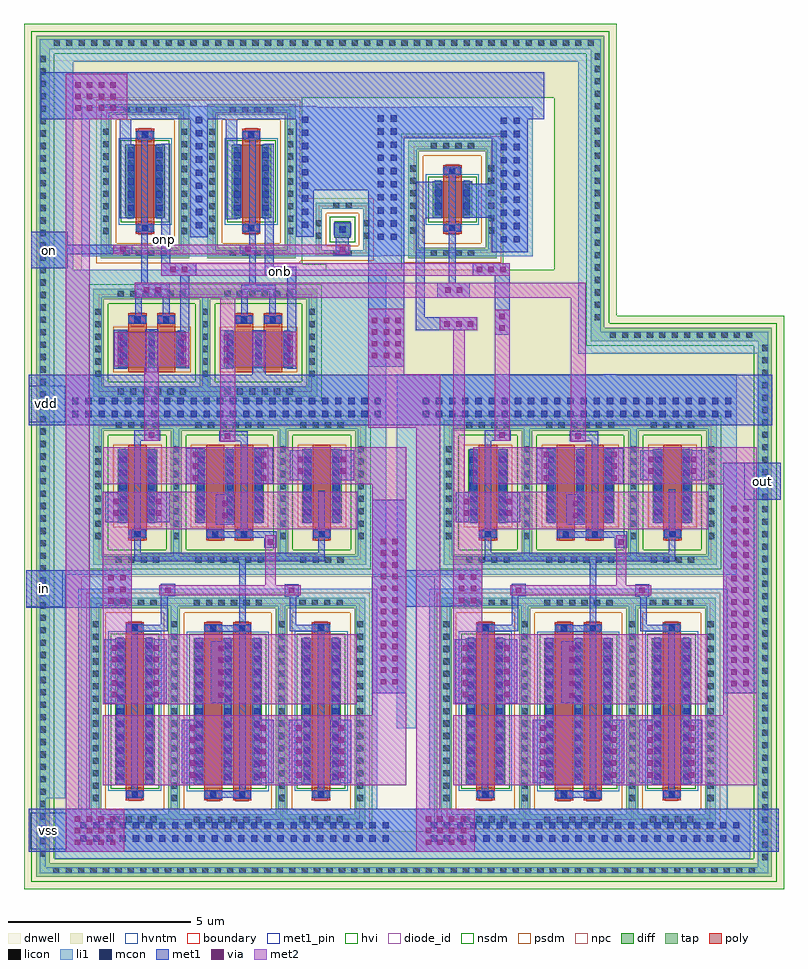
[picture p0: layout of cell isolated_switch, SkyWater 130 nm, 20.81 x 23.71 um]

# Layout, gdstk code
from math import pi, radians
import gdstk
lib = gdstk.Library(unit=1e-6, precision=1e-09)
def R(c, l, rs):  # rectangles x0, y0, x1, y1
    for r in rs: c.add(gdstk.rectangle(r[:2], r[2:], *l))
def A(c, l, x, y, w, h, nx, ny, dx, dy):  # array of equal rectangles
    R(c, l, [(x+i*dx, y+j*dy, x+i*dx+w, y+j*dy+h) for i in range(nx) for j in range(ny)])
dnwell = (64, 18)
nwell = (64, 20)
diff = (65, 20)
tap = (65, 44)
poly = (66, 20)
licon = (66, 44)
li1 = (67, 20)
mcon = (67, 44)
met1_pin = (68, 16)
met1 = (68, 20)
via = (68, 44)
met2 = (69, 20)
hvi = (75, 20)
diode_id = (81, 23)
nsdm = (93, 44)
psdm = (94, 20)
npc = (95, 20)
hvntm = (125, 20)
boundary = (235, 4)

sky130_fd_pr__nfet_g5v0d = lib.new_cell('sky130_fd_pr__nfet_g5v0d10v5_WSEQJ8')
R(sky130_fd_pr__nfet_g5v0d, diff, [(-0.54,-1,0.54,1)])
R(sky130_fd_pr__nfet_g5v0d, tap, [(-1.21,-2.11,1.21,-1.82), (-1.21,-1.82,-0.92,1.82), (0.92,-1.82,1.21,1.82), (-1.21,1.82,1.21,2.11)])
R(sky130_fd_pr__nfet_g5v0d, poly, [(-0.25,-1.44,0.25,1.44)])
A(sky130_fd_pr__nfet_g5v0d, licon, -0.595, -2.05, 0.17, 0.17, 4, 2, 0.34, 3.93)
A(sky130_fd_pr__nfet_g5v0d, licon, -1.15, -1.445, 0.17, 0.17, 1, 9, 0, 0.34)
A(sky130_fd_pr__nfet_g5v0d, licon, 0.98, -1.445, 0.17, 0.17, 1, 9, 0, 0.34)
A(sky130_fd_pr__nfet_g5v0d, licon, -0.48, -0.935, 0.17, 0.17, 1, 6, 0, 0.34)
A(sky130_fd_pr__nfet_g5v0d, licon, 0.31, -0.935, 0.17, 0.17, 1, 6, 0, 0.34)
R(sky130_fd_pr__nfet_g5v0d, licon, [(-0.085,-1.36,0.085,-1.19), (-0.085,1.19,0.085,1.36)])
R(sky130_fd_pr__nfet_g5v0d, li1, [(-1.15,-2.05,1.15,-1.88), (-1.15,-1.88,-0.98,1.88), (0.98,-1.88,1.15,1.88), (-0.25,-1.36,0.25,-1.19), (-0.48,-1.02,-0.31,1.02), (0.31,-1.02,0.48,1.02), (-0.25,1.19,0.25,1.36), (-1.15,1.88,1.15,2.05)])
A(sky130_fd_pr__nfet_g5v0d, mcon, -0.48, -0.805, 0.17, 0.17, 1, 5, 0, 0.36)
A(sky130_fd_pr__nfet_g5v0d, mcon, 0.31, -0.805, 0.17, 0.17, 1, 5, 0, 0.36)
R(sky130_fd_pr__nfet_g5v0d, mcon, [(-0.085,-1.36,0.085,-1.19), (-0.085,1.19,0.085,1.36)])
R(sky130_fd_pr__nfet_g5v0d, met1, [(-0.23,-1.39,0.23,-1.16), (-0.51,-1,-0.28,1), (0.28,-1,0.51,1), (-0.23,1.16,0.23,1.39)])
R(sky130_fd_pr__nfet_g5v0d, hvi, [(-1.395,-2.295,1.395,2.295)])
R(sky130_fd_pr__nfet_g5v0d, nsdm, [(-0.665,-1.125,0.665,1.125)])
R(sky130_fd_pr__nfet_g5v0d, psdm, [(-1.335,-2.235,1.335,-1.695), (-1.335,-1.695,-0.795,1.695), (0.795,-1.695,1.335,1.695), (-1.335,1.695,1.335,2.235)])
R(sky130_fd_pr__nfet_g5v0d, npc, [(-0.185,-1.46,0.185,-1.09), (-0.185,1.09,0.185,1.46)])
R(sky130_fd_pr__nfet_g5v0d, hvntm, [(-0.725,-1.185,0.725,1.185)])
R(sky130_fd_pr__nfet_g5v0d, boundary, [(-1.06,-1.96,1.06,1.96)])

sky130_fd_pr__pfet_g5v0d = lib.new_cell('sky130_fd_pr__pfet_g5v0d10v5_U62SY6')
R(sky130_fd_pr__pfet_g5v0d, nwell, [(-1.935,-1.81,1.935,1.81)])
R(sky130_fd_pr__pfet_g5v0d, diff, [(-0.935,-0.32,0.935,0.68)])
R(sky130_fd_pr__pfet_g5v0d, tap, [(-1.605,-1.48,1.605,-1.19), (-1.605,-1.19,-1.315,1.19), (1.315,-1.19,1.605,1.19), (-1.605,1.19,1.605,1.48)])
R(sky130_fd_pr__pfet_g5v0d, poly, [(-0.645,-0.805,-0.145,0.81), (0.145,-0.805,0.645,0.81)])
A(sky130_fd_pr__pfet_g5v0d, licon, -0.935, -1.42, 0.17, 0.17, 6, 2, 0.34, 2.67)
A(sky130_fd_pr__pfet_g5v0d, licon, -1.545, -0.935, 0.17, 0.17, 1, 6, 0, 0.34)
A(sky130_fd_pr__pfet_g5v0d, licon, 1.375, -0.935, 0.17, 0.17, 1, 6, 0, 0.34)
A(sky130_fd_pr__pfet_g5v0d, licon, -0.875, -0.245, 0.17, 0.17, 3, 3, 0.79, 0.34)
R(sky130_fd_pr__pfet_g5v0d, licon, [(-0.48,-0.725,-0.31,-0.555), (0.31,-0.725,0.48,-0.555)])
A(sky130_fd_pr__pfet_g5v0d, li1, -0.875, -0.34, 0.17, 1.04, 3, 1, 0.79, 0)
R(sky130_fd_pr__pfet_g5v0d, li1, [(-1.545,-1.42,1.545,-1.25), (-1.545,-1.25,-1.375,1.25), (1.375,-1.25,1.545,1.25), (-0.645,-0.725,-0.145,-0.555), (0.145,-0.725,0.645,-0.555), (-1.545,1.25,1.545,1.42)])
A(sky130_fd_pr__pfet_g5v0d, mcon, -0.875, -0.085, 0.17, 0.17, 3, 2, 0.79, 0.36)
R(sky130_fd_pr__pfet_g5v0d, mcon, [(-0.48,-0.725,-0.31,-0.555), (0.31,-0.725,0.48,-0.555)])
A(sky130_fd_pr__pfet_g5v0d, met1, -0.905, -0.32, 0.23, 1, 3, 1, 0.79, 0)
R(sky130_fd_pr__pfet_g5v0d, met1, [(-0.625,-0.755,-0.165,-0.525), (0.165,-0.755,0.625,-0.525)])
R(sky130_fd_pr__pfet_g5v0d, hvi, [(-1.935,-1.81,1.935,1.81)])
R(sky130_fd_pr__pfet_g5v0d, nsdm, [(-1.73,-1.605,1.73,-1.065), (-1.73,-1.065,-1.19,1.065), (1.19,-1.065,1.73,1.065), (-1.73,1.065,1.73,1.605)])
R(sky130_fd_pr__pfet_g5v0d, psdm, [(-1.06,-0.445,1.06,0.805)])
R(sky130_fd_pr__pfet_g5v0d, npc, [(-0.58,-0.825,-0.21,-0.455), (0.21,-0.825,0.58,-0.455)])
R(sky130_fd_pr__pfet_g5v0d, boundary, [(-1.46,-1.335,1.46,1.335)])

c_sky130_fd_pr__pfet_g5v0d = lib.new_cell('sky130_fd_pr__pfet_g5v0d10v5_U6Z9Y6')
R(c_sky130_fd_pr__pfet_g5v0d, nwell, [(-1.54,-2.31,1.54,2.31)])
R(c_sky130_fd_pr__pfet_g5v0d, diff, [(-0.54,-0.82,0.54,1.18)])
R(c_sky130_fd_pr__pfet_g5v0d, tap, [(-1.21,-1.98,1.21,-1.69), (-1.21,-1.69,-0.92,1.69), (0.92,-1.69,1.21,1.69), (-1.21,1.69,1.21,1.98)])
R(c_sky130_fd_pr__pfet_g5v0d, poly, [(-0.25,-1.305,0.25,1.31)])
A(c_sky130_fd_pr__pfet_g5v0d, licon, -0.595, -1.92, 0.17, 0.17, 4, 2, 0.34, 3.67)
A(c_sky130_fd_pr__pfet_g5v0d, licon, -1.15, -1.275, 0.17, 0.17, 1, 8, 0, 0.34)
A(c_sky130_fd_pr__pfet_g5v0d, licon, 0.98, -1.275, 0.17, 0.17, 1, 8, 0, 0.34)
A(c_sky130_fd_pr__pfet_g5v0d, licon, -0.48, -0.755, 0.17, 0.17, 1, 6, 0, 0.34)
A(c_sky130_fd_pr__pfet_g5v0d, licon, 0.31, -0.755, 0.17, 0.17, 1, 6, 0, 0.34)
R(c_sky130_fd_pr__pfet_g5v0d, licon, [(-0.085,-1.225,0.085,-1.055)])
R(c_sky130_fd_pr__pfet_g5v0d, li1, [(-1.15,-1.92,1.15,-1.75), (-1.15,-1.75,-0.98,1.75), (0.98,-1.75,1.15,1.75), (-0.25,-1.225,0.25,-1.055), (-0.48,-0.84,-0.31,1.2), (0.31,-0.84,0.48,1.2), (-1.15,1.75,1.15,1.92)])
A(c_sky130_fd_pr__pfet_g5v0d, mcon, -0.48, -0.625, 0.17, 0.17, 1, 5, 0, 0.36)
A(c_sky130_fd_pr__pfet_g5v0d, mcon, 0.31, -0.625, 0.17, 0.17, 1, 5, 0, 0.36)
R(c_sky130_fd_pr__pfet_g5v0d, mcon, [(-0.085,-1.225,0.085,-1.055)])
R(c_sky130_fd_pr__pfet_g5v0d, met1, [(-0.23,-1.255,0.23,-1.025), (-0.51,-0.82,-0.28,1.18), (0.28,-0.82,0.51,1.18)])
R(c_sky130_fd_pr__pfet_g5v0d, hvi, [(-1.54,-2.31,1.54,2.31)])
R(c_sky130_fd_pr__pfet_g5v0d, nsdm, [(-1.335,-2.105,1.335,-1.565), (-1.335,-1.565,-0.795,1.565), (0.795,-1.565,1.335,1.565), (-1.335,1.565,1.335,2.105)])
R(c_sky130_fd_pr__pfet_g5v0d, psdm, [(-0.665,-0.945,0.665,1.305)])
R(c_sky130_fd_pr__pfet_g5v0d, npc, [(-0.185,-1.325,0.185,-0.955)])
R(c_sky130_fd_pr__pfet_g5v0d, boundary, [(-1.065,-1.835,1.065,1.835)])

c_sky130_fd_pr__nfet_g5v0d = lib.new_cell('sky130_fd_pr__nfet_g5v0d10v5_MJGQJ4')
R(c_sky130_fd_pr__nfet_g5v0d, diff, [(-0.54,-2,0.54,2)])
R(c_sky130_fd_pr__nfet_g5v0d, tap, [(-1.21,-3.11,1.21,-2.82), (-1.21,-2.82,-0.92,2.82), (0.92,-2.82,1.21,2.82), (-1.21,2.82,1.21,3.11)])
R(c_sky130_fd_pr__nfet_g5v0d, poly, [(-0.25,-2.44,0.25,2.44)])
A(c_sky130_fd_pr__nfet_g5v0d, licon, -0.595, -3.05, 0.17, 0.17, 4, 2, 0.34, 5.93)
A(c_sky130_fd_pr__nfet_g5v0d, licon, -1.15, -2.465, 0.17, 0.17, 1, 15, 0, 0.34)
A(c_sky130_fd_pr__nfet_g5v0d, licon, 0.98, -2.465, 0.17, 0.17, 1, 15, 0, 0.34)
A(c_sky130_fd_pr__nfet_g5v0d, licon, -0.48, -1.785, 0.17, 0.17, 1, 11, 0, 0.34)
A(c_sky130_fd_pr__nfet_g5v0d, licon, 0.31, -1.785, 0.17, 0.17, 1, 11, 0, 0.34)
R(c_sky130_fd_pr__nfet_g5v0d, licon, [(-0.085,-2.36,0.085,-2.19), (-0.085,2.19,0.085,2.36)])
R(c_sky130_fd_pr__nfet_g5v0d, li1, [(-1.15,-3.05,1.15,-2.88), (-1.15,-2.88,-0.98,2.88), (0.98,-2.88,1.15,2.88), (-0.25,-2.36,0.25,-2.19), (-0.48,-2.02,-0.31,2.02), (0.31,-2.02,0.48,2.02), (-0.25,2.19,0.25,2.36), (-1.15,2.88,1.15,3.05)])
A(c_sky130_fd_pr__nfet_g5v0d, mcon, -0.48, -1.885, 0.17, 0.17, 1, 11, 0, 0.36)
A(c_sky130_fd_pr__nfet_g5v0d, mcon, 0.31, -1.885, 0.17, 0.17, 1, 11, 0, 0.36)
R(c_sky130_fd_pr__nfet_g5v0d, mcon, [(-0.085,-2.36,0.085,-2.19), (-0.085,2.19,0.085,2.36)])
R(c_sky130_fd_pr__nfet_g5v0d, met1, [(-0.23,-2.39,0.23,-2.16), (-0.51,-2,-0.28,2), (0.28,-2,0.51,2), (-0.23,2.16,0.23,2.39)])
R(c_sky130_fd_pr__nfet_g5v0d, hvi, [(-1.395,-3.295,1.395,3.295)])
R(c_sky130_fd_pr__nfet_g5v0d, nsdm, [(-0.665,-2.125,0.665,2.125)])
R(c_sky130_fd_pr__nfet_g5v0d, psdm, [(-1.335,-3.235,1.335,-2.695), (-1.335,-2.695,-0.795,2.695), (0.795,-2.695,1.335,2.695), (-1.335,2.695,1.335,3.235)])
R(c_sky130_fd_pr__nfet_g5v0d, npc, [(-0.185,-2.46,0.185,-2.09), (-0.185,2.09,0.185,2.46)])
R(c_sky130_fd_pr__nfet_g5v0d, hvntm, [(-0.725,-2.185,0.725,2.185)])
R(c_sky130_fd_pr__nfet_g5v0d, boundary, [(-1.06,-2.96,1.06,2.96)])

c_sky130_fd_pr__pfet_g5v0d_ = lib.new_cell('sky130_fd_pr__pfet_g5v0d10v5_U6V9Y6')
R(c_sky130_fd_pr__pfet_g5v0d_, nwell, [(-1.935,-2.31,1.935,2.31)])
R(c_sky130_fd_pr__pfet_g5v0d_, diff, [(-0.935,-0.82,0.935,1.18)])
R(c_sky130_fd_pr__pfet_g5v0d_, tap, [(-1.605,-1.98,1.605,-1.69), (-1.605,-1.69,-1.315,1.69), (1.315,-1.69,1.605,1.69), (-1.605,1.69,1.605,1.98)])
R(c_sky130_fd_pr__pfet_g5v0d_, poly, [(-0.645,-1.305,-0.145,1.31), (0.145,-1.305,0.645,1.31)])
A(c_sky130_fd_pr__pfet_g5v0d_, licon, -0.935, -1.92, 0.17, 0.17, 6, 2, 0.34, 3.67)
A(c_sky130_fd_pr__pfet_g5v0d_, licon, -1.545, -1.275, 0.17, 0.17, 1, 8, 0, 0.34)
A(c_sky130_fd_pr__pfet_g5v0d_, licon, 1.375, -1.275, 0.17, 0.17, 1, 8, 0, 0.34)
A(c_sky130_fd_pr__pfet_g5v0d_, licon, -0.875, -0.755, 0.17, 0.17, 3, 6, 0.79, 0.34)
R(c_sky130_fd_pr__pfet_g5v0d_, licon, [(-0.48,-1.225,-0.31,-1.055), (0.31,-1.225,0.48,-1.055)])
A(c_sky130_fd_pr__pfet_g5v0d_, li1, -0.875, -0.84, 0.17, 2.04, 3, 1, 0.79, 0)
R(c_sky130_fd_pr__pfet_g5v0d_, li1, [(-1.545,-1.92,1.545,-1.75), (-1.545,-1.75,-1.375,1.75), (1.375,-1.75,1.545,1.75), (-0.645,-1.225,-0.145,-1.055), (0.145,-1.225,0.645,-1.055), (-1.545,1.75,1.545,1.92)])
A(c_sky130_fd_pr__pfet_g5v0d_, mcon, -0.875, -0.625, 0.17, 0.17, 3, 5, 0.79, 0.36)
R(c_sky130_fd_pr__pfet_g5v0d_, mcon, [(-0.48,-1.225,-0.31,-1.055), (0.31,-1.225,0.48,-1.055)])
A(c_sky130_fd_pr__pfet_g5v0d_, met1, -0.905, -0.82, 0.23, 2, 3, 1, 0.79, 0)
R(c_sky130_fd_pr__pfet_g5v0d_, met1, [(-0.625,-1.255,-0.165,-1.025), (0.165,-1.255,0.625,-1.025)])
R(c_sky130_fd_pr__pfet_g5v0d_, hvi, [(-1.935,-2.31,1.935,2.31)])
R(c_sky130_fd_pr__pfet_g5v0d_, nsdm, [(-1.73,-2.105,1.73,-1.565), (-1.73,-1.565,-1.19,1.565), (1.19,-1.565,1.73,1.565), (-1.73,1.565,1.73,2.105)])
R(c_sky130_fd_pr__pfet_g5v0d_, psdm, [(-1.06,-0.945,1.06,1.305)])
R(c_sky130_fd_pr__pfet_g5v0d_, npc, [(-0.58,-1.325,-0.21,-0.955), (0.21,-1.325,0.58,-0.955)])
R(c_sky130_fd_pr__pfet_g5v0d_, boundary, [(-1.46,-1.835,1.46,1.835)])

c_sky130_fd_pr__nfet_g5v0d_ = lib.new_cell('sky130_fd_pr__nfet_g5v0d10v5_HRGQF2')
R(c_sky130_fd_pr__nfet_g5v0d_, diff, [(-0.935,-2,0.935,2)])
R(c_sky130_fd_pr__nfet_g5v0d_, tap, [(-1.605,-3.11,1.605,-2.82), (-1.605,-2.82,-1.315,2.82), (1.315,-2.82,1.605,2.82), (-1.605,2.82,1.605,3.11)])
R(c_sky130_fd_pr__nfet_g5v0d_, poly, [(-0.645,-2.44,-0.145,2.44), (0.145,-2.44,0.645,2.44)])
A(c_sky130_fd_pr__nfet_g5v0d_, licon, -0.935, -3.05, 0.17, 0.17, 6, 2, 0.34, 5.93)
A(c_sky130_fd_pr__nfet_g5v0d_, licon, -0.875, -1.785, 0.17, 0.17, 3, 11, 0.79, 0.34)
R(c_sky130_fd_pr__nfet_g5v0d_, licon, [(-0.48,-2.36,-0.31,-2.19), (0.31,-2.36,0.48,-2.19), (-0.48,2.19,-0.31,2.36), (0.31,2.19,0.48,2.36)])
A(c_sky130_fd_pr__nfet_g5v0d_, li1, -0.875, -2.02, 0.17, 4.04, 3, 1, 0.79, 0)
R(c_sky130_fd_pr__nfet_g5v0d_, li1, [(-1.545,-3.05,1.545,-2.88), (-1.545,-2.88,-1.375,2.88), (1.375,-2.88,1.545,2.88), (-0.645,-2.36,-0.145,-2.19), (0.145,-2.36,0.645,-2.19), (-0.645,2.19,-0.145,2.36), (0.145,2.19,0.645,2.36), (-1.545,2.88,1.545,3.05)])
A(c_sky130_fd_pr__nfet_g5v0d_, mcon, -0.875, -1.885, 0.17, 0.17, 3, 11, 0.79, 0.36)
R(c_sky130_fd_pr__nfet_g5v0d_, mcon, [(-0.48,-2.36,-0.31,-2.19), (0.31,-2.36,0.48,-2.19), (-0.48,2.19,-0.31,2.36), (0.31,2.19,0.48,2.36)])
A(c_sky130_fd_pr__nfet_g5v0d_, met1, -0.905, -2, 0.23, 4, 3, 1, 0.79, 0)
R(c_sky130_fd_pr__nfet_g5v0d_, met1, [(-0.625,-2.39,-0.165,-2.16), (0.165,-2.39,0.625,-2.16), (-0.625,2.16,-0.165,2.39), (0.165,2.16,0.625,2.39)])
R(c_sky130_fd_pr__nfet_g5v0d_, hvi, [(-1.79,-3.295,1.79,3.295)])
R(c_sky130_fd_pr__nfet_g5v0d_, nsdm, [(-1.06,-2.125,1.06,2.125)])
R(c_sky130_fd_pr__nfet_g5v0d_, psdm, [(-1.73,-3.235,1.73,-2.695), (-1.73,-2.695,-1.19,2.695), (1.19,-2.695,1.73,2.695), (-1.73,2.695,1.73,3.235)])
R(c_sky130_fd_pr__nfet_g5v0d_, npc, [(-0.58,-2.46,-0.21,-2.09), (0.21,-2.46,0.58,-2.09), (-0.58,2.09,-0.21,2.46), (0.21,2.09,0.58,2.46)])
R(c_sky130_fd_pr__nfet_g5v0d_, hvntm, [(-1.12,-2.185,1.12,2.185)])
R(c_sky130_fd_pr__nfet_g5v0d_, boundary, [(-1.46,-2.965,1.46,2.965)])

sky130_fd_pr__diode_pw2n = lib.new_cell('sky130_fd_pr__diode_pw2nd_05v5_FT76RK')
R(sky130_fd_pr__diode_pw2n, diff, [(-0.225,-0.225,0.225,0.225)])
R(sky130_fd_pr__diode_pw2n, tap, [(-0.735,-0.735,0.735,-0.565), (-0.735,-0.565,-0.565,0.565), (0.565,-0.565,0.735,0.565), (-0.735,0.565,0.735,0.735)])
R(sky130_fd_pr__diode_pw2n, licon, [(-0.255,-0.735,-0.085,-0.565), (0.085,-0.735,0.255,-0.565), (-0.735,-0.255,-0.565,-0.085), (0.565,-0.255,0.735,-0.085), (-0.085,-0.085,0.085,0.085), (-0.735,0.085,-0.565,0.255), (0.565,0.085,0.735,0.255), (-0.255,0.565,-0.085,0.735), (0.085,0.565,0.255,0.735)])
R(sky130_fd_pr__diode_pw2n, li1, [(-0.735,-0.735,0.735,-0.565), (-0.735,-0.565,-0.565,0.565), (0.565,-0.565,0.735,0.565), (-0.245,-0.165,0.245,0.165), (-0.735,0.565,0.735,0.735)])
R(sky130_fd_pr__diode_pw2n, mcon, [(-0.085,-0.085,0.085,0.085)])
R(sky130_fd_pr__diode_pw2n, met1, [(-0.225,-0.195,0.225,0.195)])
R(sky130_fd_pr__diode_pw2n, diode_id, [(-0.225,-0.225,0.225,0.225)])
R(sky130_fd_pr__diode_pw2n, nsdm, [(-0.35,-0.35,0.35,0.35)])
R(sky130_fd_pr__diode_pw2n, psdm, [(-0.86,-0.86,0.86,-0.44), (-0.86,-0.44,-0.44,0.44), (0.44,-0.44,0.86,0.44), (-0.86,0.44,0.86,0.86)])
R(sky130_fd_pr__diode_pw2n, boundary, [(-0.65,-0.65,0.65,0.65)])

c_sky130_fd_pr__nfet_g5v0d__ = lib.new_cell('sky130_fd_pr__nfet_g5v0d10v5_UNEQ3N')
R(c_sky130_fd_pr__nfet_g5v0d__, diff, [(-0.54,-0.5,0.54,0.5)])
R(c_sky130_fd_pr__nfet_g5v0d__, tap, [(-1.21,-1.61,1.21,-1.32), (-1.21,-1.32,-0.92,1.32), (0.92,-1.32,1.21,1.32), (-1.21,1.32,1.21,1.61)])
R(c_sky130_fd_pr__nfet_g5v0d__, poly, [(-0.25,-0.94,0.25,0.94)])
A(c_sky130_fd_pr__nfet_g5v0d__, licon, -0.595, -1.55, 0.17, 0.17, 4, 2, 0.34, 2.93)
A(c_sky130_fd_pr__nfet_g5v0d__, licon, -1.15, -0.935, 0.17, 0.17, 1, 6, 0, 0.34)
A(c_sky130_fd_pr__nfet_g5v0d__, licon, 0.98, -0.935, 0.17, 0.17, 1, 6, 0, 0.34)
A(c_sky130_fd_pr__nfet_g5v0d__, licon, -0.48, -0.425, 0.17, 0.17, 1, 3, 0, 0.34)
A(c_sky130_fd_pr__nfet_g5v0d__, licon, 0.31, -0.425, 0.17, 0.17, 1, 3, 0, 0.34)
R(c_sky130_fd_pr__nfet_g5v0d__, licon, [(-0.085,-0.86,0.085,-0.69), (-0.085,0.69,0.085,0.86)])
R(c_sky130_fd_pr__nfet_g5v0d__, li1, [(-1.15,-1.55,1.15,-1.38), (-1.15,-1.38,-0.98,1.38), (0.98,-1.38,1.15,1.38), (-0.25,-0.86,0.25,-0.69), (-0.48,-0.52,-0.31,0.52), (0.31,-0.52,0.48,0.52), (-0.25,0.69,0.25,0.86), (-1.15,1.38,1.15,1.55)])
R(c_sky130_fd_pr__nfet_g5v0d__, mcon, [(-0.085,-0.86,0.085,-0.69), (-0.48,-0.265,-0.31,-0.095), (0.31,-0.265,0.48,-0.095), (-0.48,0.095,-0.31,0.265), (0.31,0.095,0.48,0.265), (-0.085,0.69,0.085,0.86)])
R(c_sky130_fd_pr__nfet_g5v0d__, met1, [(-0.23,-0.89,0.23,-0.66), (-0.51,-0.5,-0.28,0.5), (0.28,-0.5,0.51,0.5), (-0.23,0.66,0.23,0.89)])
R(c_sky130_fd_pr__nfet_g5v0d__, hvi, [(-1.395,-1.795,1.395,1.795)])
R(c_sky130_fd_pr__nfet_g5v0d__, nsdm, [(-0.665,-0.625,0.665,0.625)])
R(c_sky130_fd_pr__nfet_g5v0d__, psdm, [(-1.335,-1.735,1.335,-1.195), (-1.335,-1.195,-0.795,1.195), (0.795,-1.195,1.335,1.195), (-1.335,1.195,1.335,1.735)])
R(c_sky130_fd_pr__nfet_g5v0d__, npc, [(-0.185,-0.96,0.185,-0.59), (-0.185,0.59,0.185,0.96)])
R(c_sky130_fd_pr__nfet_g5v0d__, hvntm, [(-0.725,-0.685,0.725,0.685)])
R(c_sky130_fd_pr__nfet_g5v0d__, boundary, [(-1.06,-1.46,1.06,1.46)])

isolated_switch = lib.new_cell('isolated_switch')
R(isolated_switch, dnwell, [(2.05,-14,21.77,0.15), (2.05,0.15,17.05,8.15)])
R(isolated_switch, nwell, [(1.505,-14.555,22.315,-12.97), (1.505,-12.97,3.08,1.865), (20.74,-12.97,22.315,-2.41), (11.2,-6,12.67,-1.485), (16.02,-6,17.05,-2.41), (16.02,-2.41,22.315,-1.485), (9.785,-1.485,22.315,1.15), (9.785,1.15,17.73,1.865), (1.505,1.865,17.73,2.41), (1.505,2.41,3.08,7.12), (16.02,2.41,17.73,7.12), (1.505,7.12,17.73,9.15)])
R(isolated_switch, tap, [(1.835,-14.215,21.985,-13.845), (1.835,-13.845,2.205,8.45), (21.615,-13.845,21.985,0.45), (17.03,0.45,21.985,0.82), (17.03,0.82,17.4,8.45), (1.835,8.45,17.4,8.82)])
A(isolated_switch, licon, 2.305, -14.115, 0.17, 0.17, 57, 1, 0.34, 0)
A(isolated_switch, licon, 21.715, -13.755, 0.17, 0.17, 1, 42, 0, 0.34)
A(isolated_switch, licon, 1.935, -13.665, 0.17, 0.17, 1, 65, 0, 0.34)
A(isolated_switch, licon, 17.54, 0.55, 0.17, 0.17, 12, 1, 0.34, 0)
A(isolated_switch, licon, 17.13, 1.025, 0.17, 0.17, 1, 22, 0, 0.34)
A(isolated_switch, licon, 2.32, 8.55, 0.17, 0.17, 44, 1, 0.34, 0)
R(isolated_switch, li1, [(1.935,-14.115,21.885,-13.945), (1.935,-13.945,2.105,-12.06), (21.6,-13.945,21.885,0.105), (2.355,-13.715,21.385,-12.35), (2.995,-12.35,3.57,-6.775), (10.6,-12.35,11.175,-6.775), (12.595,-12.35,13.17,-6.775), (20.2,-12.35,20.775,-6.775), (1.935,-12.06,2.64,-5.94), (11.705,-10.14,12.24,-5.94), (2.995,-6.775,11.175,-6.33), (12.595,-6.775,20.775,-6.33), (1.935,-5.94,11.42,-5.47), (11.705,-5.94,21.02,-5.47), (1.935,-5.47,3.56,-1.87), (10.7,-5.47,11.42,-1.87), (11.705,-5.47,13.16,-1.87), (20.3,-5.47,21.02,-1.87), (1.935,-1.87,11.42,-0.79), (11.705,-1.87,21.02,-0.45), (1.935,-0.79,3.56,1.71), (9.35,-0.79,11.42,1.71), (16.685,0.105,21.885,0.72), (16.685,0.72,17.3,8.105), (1.935,1.71,11.42,2.41), (1.935,2.41,2.855,8.105), (3.08,2.78,3.84,6.88), (5.845,2.78,6.715,6.885), (8.765,2.78,9.635,4.235), (10.82,2.78,11.275,2.79), (14.25,2.78,15.435,3.83), (10.82,2.79,12.175,4.235), (13.645,3.83,15.435,4.765), (8.765,4.235,12.175,5.805), (14.185,4.765,15.435,5.805), (8.765,5.805,15.435,6.865), (8.765,6.865,9.515,6.885), (12.115,6.865,15.435,6.875), (14.25,6.875,15.435,6.88), (1.935,8.105,17.3,8.72)])
A(isolated_switch, mcon, 3.045, -13.245, 0.17, 0.17, 24, 2, 0.36, 0.36)
A(isolated_switch, mcon, 12.645, -13.245, 0.17, 0.17, 24, 2, 0.36, 0.36)
A(isolated_switch, mcon, 2.825, -1.625, 0.17, 0.17, 24, 2, 0.36, 0.36)
A(isolated_switch, mcon, 12.425, -1.625, 0.17, 0.17, 24, 2, 0.36, 0.36)
A(isolated_switch, mcon, 14.555, 3.165, 0.17, 0.17, 1, 10, 0, 0.36)
A(isolated_switch, mcon, 14.915, 3.165, 0.17, 0.17, 1, 10, 0, 0.36)
A(isolated_switch, mcon, 11.185, 3.23, 0.17, 0.17, 1, 10, 0, 0.36)
A(isolated_switch, mcon, 11.545, 3.23, 0.17, 0.17, 1, 10, 0, 0.36)
A(isolated_switch, mcon, 6.21, 3.545, 0.17, 0.17, 1, 9, 0, 0.36)
A(isolated_switch, mcon, 9.115, 3.555, 0.17, 0.17, 1, 9, 0, 0.36)
R(isolated_switch, met1_pin, [(1.68,-13.455,2.68,-12.455), (1.57,-6.82,2.57,-5.82), (21.23,-3.88,22.23,-2.88), (1.63,-1.76,2.63,-0.76), (1.7,2.45,2.7,3.45)])
R(isolated_switch, met1, [(1.64,-13.525,22.175,-12.35), (6.735,-12.045,7.575,-11.865), (16.335,-12.045,17.175,-11.865), (9.55,-11.93,9.73,-7.49), (19.15,-11.93,19.33,-7.49), (4.435,-11.92,4.615,-7.485), (14.035,-11.92,14.215,-7.485), (7.395,-11.865,7.575,-7.5), (16.995,-11.865,17.175,-7.5), (5.83,-11.65,6.41,-9.905), (7.76,-11.65,8.34,-9.905), (8.75,-11.65,9.33,-9.905), (9.89,-11.65,10.47,-9.905), (15.43,-11.65,16.01,-9.905), (17.36,-11.65,17.94,-9.905), (18.35,-11.65,18.93,-9.905), (19.49,-11.65,20.07,-9.905), (3.7,-9.455,4.28,-7.71), (4.835,-9.455,5.415,-7.71), (13.3,-9.455,13.88,-7.71), (14.435,-9.455,15.015,-7.71), (6.615,-9.44,7.2,-7.76), (16.215,-9.44,16.8,-7.76), (11.045,-9.18,11.965,-6.82), (20.645,-9.18,21.565,-3.88), (6.61,-7.5,7.575,-7.32), (16.21,-7.5,17.175,-7.32), (8.78,-7.49,9.745,-7.31), (18.38,-7.49,19.345,-7.31), (4.435,-7.485,5.435,-7.445), (14.035,-7.485,15.035,-7.445), (4.47,-7.445,5.435,-7.305), (14.07,-7.445,15.035,-7.305), (7.395,-7.32,7.575,-5.575), (16.995,-7.32,17.175,-5.575), (8.78,-7.31,8.96,-6.545), (18.38,-7.31,18.56,-6.545), (5.255,-7.305,5.435,-6.535), (14.855,-7.305,15.035,-6.535), (1.57,-6.84,4.455,-5.82), (11.045,-6.82,14.055,-5.82), (8.64,-6.545,9.025,-6.195), (18.24,-6.545,18.625,-6.195), (5.255,-6.535,5.64,-6.185), (14.855,-6.535,15.24,-6.185), (11.045,-5.82,11.965,-3.88), (4.52,-5.575,9.74,-5.335), (14.12,-5.575,19.34,-5.335), (4.52,-5.335,4.695,-2.265), (9.565,-5.335,9.74,-3.645), (14.12,-5.335,14.295,-2.265), (19.165,-5.335,19.34,-3.6), (8.085,-5.195,8.425,-4.925), (17.685,-5.195,18.025,-4.925), (6.67,-4.925,8.425,-4.745), (16.27,-4.925,18.025,-4.745), (7.445,-4.745,7.625,-2.29), (17.045,-4.745,17.225,-2.29), (6.75,-4.57,7.26,-3.74), (16.35,-4.57,16.86,-3.74), (3.725,-4.505,4.335,-3.68), (13.325,-4.505,13.935,-3.68), (4.885,-4.5,5.495,-3.675), (14.485,-4.5,15.095,-3.675), (20.645,-3.88,22.23,-2.88), (5.95,-3.455,6.46,-2.475), (7.81,-3.455,8.32,-2.475), (15.55,-3.455,16.06,-2.475), (17.41,-3.455,17.92,-2.475), (8.775,-3.35,9.38,-2.525), (9.94,-3.35,10.545,-2.525), (18.375,-3.35,18.98,-2.525), (19.54,-3.35,20.145,-2.525), (6.85,-2.29,7.625,-2.01), (16.45,-2.29,17.225,-2.01), (4.52,-2.265,5.23,-1.985), (14.12,-2.265,14.83,-1.985), (1.63,-1.84,21.99,-0.46), (4.82,-0.46,5.18,0.78), (7.76,-0.46,8.12,0.755), (14.42,-0.46,14.78,-0.45), (17.36,-0.46,17.72,-0.45), (6.875,-0.305,7.24,0.755), (3.965,-0.295,4.33,0.765), (8.715,-0.295,8.96,-0.22), (5.79,-0.285,6.035,-0.225), (10.935,-0.24,11.915,2.945), (5.735,-0.225,6.035,0.695), (8.66,-0.22,8.96,0.7), (14.395,0.625,14.8,2.245), (5.79,0.695,6.035,2.245), (8.715,0.7,8.96,2.255), (12.23,0.75,13.91,1.105), (4.545,1,4.73,1.65), (5.31,1,5.495,1.65), (7.45,1,7.635,1.82), (8.215,1,8.4,1.82), (12.23,1.105,12.485,3.825), (4.54,1.65,5.495,2.055), (12.825,1.65,13.71,2.055), (7.45,1.82,8.4,2.005), (7.67,2.005,7.855,2.835), (4.715,2.055,4.9,6.155), (13.14,2.055,13.325,5.15), (5.26,2.245,6.225,2.59), (13.795,2.245,14.8,2.59), (8.1,2.255,8.96,2.5), (1.7,2.45,2.7,2.835), (8.1,2.5,8.345,5.855), (5.26,2.59,5.505,5.86), (10.045,2.805,10.4,3.695), (1.7,2.835,4.47,3.095), (7.415,2.835,7.86,3.095), (14.315,2.885,15.3,3.83), (10.93,2.945,11.915,4.59), (1.7,3.095,2.7,3.45), (7.67,3.095,7.855,6.16), (6.055,3.295,6.54,6.53), (8.955,3.32,9.44,4.59), (7.03,3.8,7.35,6.53), (4.12,3.82,4.44,6.53), (12.23,3.825,12.95,4.82), (13.645,3.83,15.3,4.77), (8.955,4.59,11.915,6.005), (14.31,4.77,15.3,5.83), (14.315,5.83,15.3,6.005), (8.955,6.005,15.3,6.53), (1.965,6.53,15.75,7.815)])
A(isolated_switch, via, 2.9, -13.34, 0.15, 0.15, 4, 3, 0.32, 0.32)
A(isolated_switch, via, 12.5, -13.34, 0.15, 0.15, 4, 3, 0.32, 0.32)
A(isolated_switch, via, 6.045, -11.495, 0.15, 0.15, 1, 5, 0, 0.32)
A(isolated_switch, via, 7.975, -11.495, 0.15, 0.15, 1, 5, 0, 0.32)
A(isolated_switch, via, 8.965, -11.495, 0.15, 0.15, 1, 5, 0, 0.32)
A(isolated_switch, via, 10.105, -11.495, 0.15, 0.15, 1, 5, 0, 0.32)
A(isolated_switch, via, 15.645, -11.495, 0.15, 0.15, 1, 5, 0, 0.32)
A(isolated_switch, via, 17.575, -11.495, 0.15, 0.15, 1, 5, 0, 0.32)
A(isolated_switch, via, 18.565, -11.495, 0.15, 0.15, 1, 5, 0, 0.32)
A(isolated_switch, via, 19.705, -11.495, 0.15, 0.15, 1, 5, 0, 0.32)
A(isolated_switch, via, 6.83, -9.315, 0.15, 0.15, 1, 5, 0, 0.32)
A(isolated_switch, via, 16.43, -9.315, 0.15, 0.15, 1, 5, 0, 0.32)
A(isolated_switch, via, 3.915, -9.3, 0.15, 0.15, 1, 5, 0, 0.32)
A(isolated_switch, via, 5.05, -9.3, 0.15, 0.15, 1, 5, 0, 0.32)
A(isolated_switch, via, 13.515, -9.3, 0.15, 0.15, 1, 5, 0, 0.32)
A(isolated_switch, via, 14.65, -9.3, 0.15, 0.15, 1, 5, 0, 0.32)
A(isolated_switch, via, 20.875, -8.995, 0.15, 0.15, 1, 16, 0, 0.32)
A(isolated_switch, via, 21.195, -8.995, 0.15, 0.15, 1, 16, 0, 0.32)
A(isolated_switch, via, 11.275, -8.945, 0.15, 0.15, 1, 13, 0, 0.32)
A(isolated_switch, via, 11.595, -8.945, 0.15, 0.15, 1, 13, 0, 0.32)
A(isolated_switch, via, 3.815, -6.735, 0.15, 0.15, 1, 3, 0, 0.32)
A(isolated_switch, via, 4.135, -6.735, 0.15, 0.15, 1, 3, 0, 0.32)
A(isolated_switch, via, 13.415, -6.715, 0.15, 0.15, 1, 3, 0, 0.32)
A(isolated_switch, via, 13.735, -6.715, 0.15, 0.15, 1, 3, 0, 0.32)
A(isolated_switch, via, 6.13, -3.36, 0.15, 0.15, 1, 3, 0, 0.32)
A(isolated_switch, via, 7.99, -3.36, 0.15, 0.15, 1, 3, 0, 0.32)
A(isolated_switch, via, 15.73, -3.36, 0.15, 0.15, 1, 3, 0, 0.32)
A(isolated_switch, via, 17.59, -3.36, 0.15, 0.15, 1, 3, 0, 0.32)
A(isolated_switch, via, 4.075, -0.165, 0.15, 0.15, 1, 3, 0, 0.32)
A(isolated_switch, via, 5.795, -0.16, 0.15, 0.15, 1, 3, 0, 0.32)
A(isolated_switch, via, 6.97, -0.155, 0.15, 0.15, 1, 3, 0, 0.32)
A(isolated_switch, via, 8.72, -0.155, 0.15, 0.15, 1, 3, 0, 0.32)
A(isolated_switch, via, 11.03, -0.01, 0.15, 0.15, 3, 4, 0.32, 0.32)
A(isolated_switch, via, 13.015, 0.85, 0.15, 0.15, 3, 1, 0.32, 0)
A(isolated_switch, via, 13.9, 2.34, 0.15, 0.15, 3, 1, 0.32, 0)
A(isolated_switch, via, 2.91, 6.76, 0.15, 0.15, 4, 3, 0.32, 0.32)
R(isolated_switch, via, [(5.37,-6.44,5.52,-6.29), (8.755,-6.44,8.905,-6.29), (14.97,-6.44,15.12,-6.29), (18.355,-6.44,18.505,-6.29), (8.18,-5.12,8.33,-4.97), (17.78,-5.12,17.93,-4.97), (6.93,-4.39,7.08,-4.24), (16.53,-4.39,16.68,-4.24), (3.95,-4.33,4.1,-4.18), (13.55,-4.33,13.7,-4.18), (5.115,-4.325,5.265,-4.175), (14.715,-4.325,14.865,-4.175), (6.93,-4.07,7.08,-3.92), (16.53,-4.07,16.68,-3.92), (3.95,-4.01,4.1,-3.86), (13.55,-4.01,13.7,-3.86), (5.115,-4.005,5.265,-3.855), (14.715,-4.005,14.865,-3.855), (9,-3.175,9.15,-3.025), (10.165,-3.175,10.315,-3.025), (18.6,-3.175,18.75,-3.025), (19.765,-3.175,19.915,-3.025), (9,-2.855,9.15,-2.705), (10.165,-2.855,10.315,-2.705), (18.6,-2.855,18.75,-2.705), (19.765,-2.855,19.915,-2.705), (7.005,-2.22,7.155,-2.07), (16.605,-2.22,16.755,-2.07), (4.92,-2.19,5.07,-2.04), (14.52,-2.19,14.67,-2.04), (14.52,0.735,14.67,0.885), (14.52,1.055,14.67,1.205), (4.785,1.775,4.935,1.925), (5.105,1.775,5.255,1.925), (13.035,1.775,13.185,1.925), (13.355,1.775,13.505,1.925), (5.505,2.34,5.655,2.49), (5.825,2.34,5.975,2.49), (4.135,2.89,4.285,3.04), (7.565,2.89,7.715,3.04), (10.145,2.89,10.295,3.04)])
R(isolated_switch, met2, [(2.645,-13.525,4.245,-12.35), (12.245,-13.525,13.845,-12.35), (2.645,-12.35,3.3,6.53), (12.245,-12.35,12.9,-1.91), (3.665,-11.71,11.965,-9.79), (13.265,-11.71,21.565,-9.79), (11.045,-9.79,11.965,-3.465), (20.645,-9.79,21.565,-3.465), (3.66,-9.485,10.61,-7.565), (13.26,-9.485,20.21,-7.565), (3.66,-7.565,4.455,-4.69), (13.26,-7.565,14.055,-4.69), (5.215,-6.505,9.08,-6.225), (14.815,-6.505,18.68,-6.225), (8.115,-6.225,8.395,-4.86), (17.715,-6.225,17.995,-4.86), (3.66,-4.69,10.635,-3.67), (13.26,-4.69,20.235,-3.67), (13.265,-3.67,13.575,0.75), (3.68,-3.465,11.965,-2.445), (13.805,-3.465,21.565,-2.445), (6.88,-2.305,7.285,-0.23), (16.48,-2.305,16.885,1.65), (4.795,-2.275,5.2,-0.235), (14.395,-2.275,14.8,1.315), (10.935,-1.91,12.9,-0.45), (10.935,-0.45,11.915,1.345), (3.975,-0.235,6.035,0.705), (6.88,-0.23,8.96,0.71), (6.88,0.71,7.285,1.65), (12.895,0.75,13.91,1.105), (4.54,1.65,16.885,2.055), (5.26,2.245,14.8,2.59), (3.945,2.835,10.435,3.095), (2.645,6.53,4.335,7.78)])
R(isolated_switch, hvi, [(1.505,-14.555,22.315,-12.97), (1.505,-12.97,3.145,-6.38), (20.635,-12.97,22.315,-6.38), (5.935,-6.385,8.245,-6.38), (15.535,-6.385,17.845,-6.38), (1.505,-6.38,11.035,-6), (12.745,-6.38,22.315,-6), (1.505,-6,3.08,1.715), (11.2,-6,12.67,-1.485), (16.02,-6,17.05,-2.41), (20.74,-6,22.315,-2.41), (16.02,-2.41,22.315,-1.485), (9.785,-1.485,22.315,1.15), (9.785,1.15,17.73,1.715), (1.505,1.715,17.73,2.41), (1.505,2.41,9.785,2.56), (11.84,2.41,14.63,2.54), (16.02,2.41,17.73,7.12), (1.505,2.56,3.425,7.12), (6.215,2.56,6.335,7.12), (1.505,7.12,17.73,9.15)])
R(isolated_switch, nsdm, [(1.71,-14.34,22.11,-13.72), (1.71,-13.72,2.33,8.325), (21.49,-13.72,22.11,0.325), (16.905,0.325,22.11,0.945), (16.905,0.945,17.525,8.325), (1.71,8.325,17.525,8.945)])
R(isolated_switch, psdm, [(6.155,2.595,6.395,7.065), (9.065,2.655,9.365,4.375)])
isolated_switch.add(gdstk.Reference(sky130_fd_pr__nfet_g5v0d, (4.82,4.83), x_reflection=True))
isolated_switch.add(gdstk.Reference(sky130_fd_pr__nfet_g5v0d, (7.73,4.83), x_reflection=True))
isolated_switch.add(gdstk.Reference(sky130_fd_pr__pfet_g5v0d, (5.005,0.41), x_reflection=True))
isolated_switch.add(gdstk.Reference(c_sky130_fd_pr__pfet_g5v0d, (9.66,-3.69)))
isolated_switch.add(gdstk.Reference(c_sky130_fd_pr__nfet_g5v0d, (9.64,-9.675)))
isolated_switch.add(gdstk.Reference(c_sky130_fd_pr__pfet_g5v0d_, (7.135,-3.69)))
isolated_switch.add(gdstk.Reference(c_sky130_fd_pr__nfet_g5v0d, (4.54,-9.675), rotation=pi, x_reflection=True))
isolated_switch.add(gdstk.Reference(c_sky130_fd_pr__nfet_g5v0d_, (7.085,-9.68), rotation=pi, x_reflection=True))
isolated_switch.add(gdstk.Reference(sky130_fd_pr__diode_pw2n, (10.225,3.515), x_reflection=True))
isolated_switch.add(gdstk.Reference(sky130_fd_pr__pfet_g5v0d, (7.925,0.41), x_reflection=True))
isolated_switch.add(gdstk.Reference(c_sky130_fd_pr__pfet_g5v0d, (19.26,-3.69)))
isolated_switch.add(gdstk.Reference(c_sky130_fd_pr__pfet_g5v0d, (14.21,-3.69)))
isolated_switch.add(gdstk.Reference(c_sky130_fd_pr__pfet_g5v0d, (4.61,-3.69)))
isolated_switch.add(gdstk.Reference(c_sky130_fd_pr__pfet_g5v0d_, (16.735,-3.69)))
isolated_switch.add(gdstk.Reference(c_sky130_fd_pr__nfet_g5v0d__, (13.235,4.335), x_reflection=True))
isolated_switch.add(gdstk.Reference(c_sky130_fd_pr__nfet_g5v0d, (19.24,-9.675)))
isolated_switch.add(gdstk.Reference(c_sky130_fd_pr__nfet_g5v0d, (14.14,-9.675), rotation=pi, x_reflection=True))
isolated_switch.add(gdstk.Reference(c_sky130_fd_pr__nfet_g5v0d_, (16.685,-9.68), rotation=pi, x_reflection=True))
isolated_switch.add(gdstk.Label('onb', (8.525,2.365), layer=68, texttype=5))
isolated_switch.add(gdstk.Label('onp', (5.34,3.235), layer=68, texttype=5))
isolated_switch.add(gdstk.Label('on', (2.2,2.95), layer=68, texttype=5))
isolated_switch.add(gdstk.Label('vss', (2.18,-12.955), layer=68, texttype=5))
isolated_switch.add(gdstk.Label('out', (21.73,-3.38), layer=68, texttype=5))
isolated_switch.add(gdstk.Label('in', (2.07,-6.32), layer=68, texttype=5))
isolated_switch.add(gdstk.Label('vdd', (2.13,-1.26), layer=68, texttype=5))

lib.write_gds('isolated_switch.gds')
